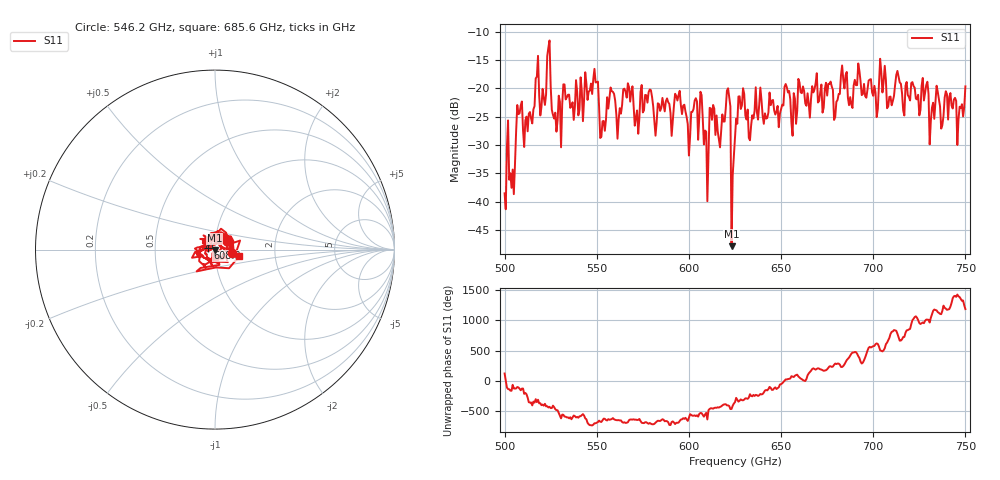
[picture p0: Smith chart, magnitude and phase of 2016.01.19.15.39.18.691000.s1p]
!Created with skrf (http://scikit-rf.org).
# GHz S RI R 50.0
!freq ReS11 ImS11
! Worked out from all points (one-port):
!   401 points, 500 GHz to 750 GHz, reference 50 ohm
!   lowest |S11| = -47.9 dB at 623.1 GHz (marker M1), VSWR 1.01, Z = 49.9 - j0.393 ohm
!   |S11| at or under -10 dB: start of sweep to end of sweep
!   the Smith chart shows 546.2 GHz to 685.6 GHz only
!   S11 on the Smith chart (normalised r, x): 546.2 GHz: 1.21, -0.04; 608.8 GHz: 0.92, +0.02; 685.6 GHz: 1.31, -0.10
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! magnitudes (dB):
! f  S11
! 500 GHz  -38.5
! 504.4 GHz  -34.3
! 508.1 GHz  -24.4
! 511.2 GHz  -25.7
! 523.8 GHz  -12.8
! 526.9 GHz  -25.4
! 531.2 GHz  -22.8
! 546.2 GHz  -20.4
! 549.4 GHz  -19.0
! 553.1 GHz  -25.8
! 558.1 GHz  -20.5
! 562.5 GHz  -23.5
! 566.2 GHz  -21.7
! 593.8 GHz  -22.2
! 599.4 GHz  -26.3
! 605.6 GHz  -25.1
! 608.8 GHz  -27.5
! 621.2 GHz  -20.0
! 623.1 GHz  -47.9
! 625 GHz  -28.9
! 628.1 GHz  -23.7
! 633.8 GHz  -26.6
! 656.2 GHz  -28.4
! 685.6 GHz  -17.1
! 687.5 GHz  -21.6
! 718.8 GHz  -21.2
! 731.9 GHz  -23.4
! 750 GHz  -19.7
